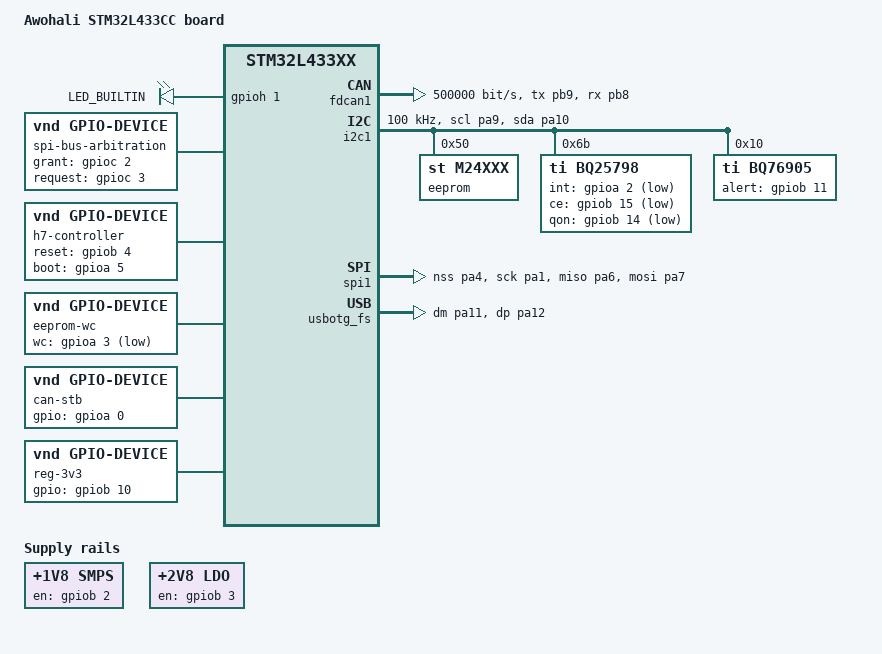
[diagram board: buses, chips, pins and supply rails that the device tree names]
/*
 * Copyright (c) 2026 Madison Gleydura <deepspace00@pm.me>
 *
 * SPDX-License-Identifier: Apache-2.0
 */

/dts-v1/;
#include <st/l4/stm32l433Xc.dtsi>
// #include "awohali_stm32l433cc.dtsi"

/ {
	model = "Awohali STM32L433CC board";
	compatible = "st,stm32l433xx";

	chosen {
		zephyr,console = &cdc_acm_uart0;
		zephyr,shell-uart = &cdc_acm_uart0;
		zephyr,dtcm = &dtcm;
		zephyr,sram = &sram1;
		zephyr,flash = &flash1;
	};

	aliases {
		led0 = &red_led;
		can0 = &fdcan1;
	};

	leds {
		compatible = "gpio-leds";
		status = "okay";
		led0: led_0 {
			gpios = <&gpioh 1 GPIO_ACTIVE_HIGH>;
			label = "LED_BUILTIN";
		};
	};

	spi-bus-arbitration {
		compatible = "vnd,gpio-device";
		grant-gpios = <&gpioc 2 GPIO_ACTIVE_HIGH>;
		request-gpios = <&gpioc 3 GPIO_ACTIVE_HIGH>;
		status = "okay";
	};

	h7-controller {
		compatible = "vnd,gpio-device";
		reset-gpios = <&gpiob 4 GPIO_ACTIVE_HIGH>;
		boot-gpios = <&gpioa 5 GPIO_ACTIVE_HIGH>;
		status = "okay";
	};

	eeprom-wc {
		compatible = "vnd,gpio-device";
		wc-gpios = <&gpioa 3 (GPIO_PULL_UP | GPIO_ACTIVE_LOW)>;
		status = "okay";
	};

	can-stb {
		compatible = "vnd,gpio-device";
		gpios = <&gpioa 0 GPIO_ACTIVE_HIGH>;
		status = "okay";
	};

	reg-1v8 {
		compatible = "regulator-gpio";
		regulator-name = "+1V8 SMPS";
		enable-gpios = <&gpiob 2 GPIO_ACTIVE_HIGH>;
		gpios = <&gpiob 1 GPIO_ACTIVE_HIGH>;
		status = "okay";
	};

	reg-2v8 {
		compatible = "regulator-gpio";
		regulator-name = "+2V8 LDO";
		enable-gpios = <&gpiob 3 GPIO_ACTIVE_HIGH>;
		gpios = <&gpioa 15 GPIO_ACTIVE_HIGH>;
		status = "okay";
	};

	reg-3v3 {
		compatible = "vnd,gpio-device";
		gpios = <&gpiob 10 GPIO_ACTIVE_HIGH>;
		status = "okay";
	}
};

&fdcan1 {
	pinctrl-0 = <&fdcan1_tx_pb9 &fdcan1_rx_pb8>;
	pinctrl-names = "default";
	clocks = <&rcc STM32_CLOCK(APB1_2, 8)>,
		<&rcc STM32_SRC_HSE FDCAN_SEL(1)>;
	bus-speed = <500000>;
	sample-point = <875>;
	status = "okay";

	can-transceiver {
		max-bitrate = <5000000>;
	};
};

&i2c1 {
	pinctrl-0 = <&i2c1_scl_pa9 &i2c1_sda_pa10>;
	pinctrl-names = "default";
	clock-frequency = <100000>;
	status = "okay";

	eeprom@50 {
		compatible = "st,m24xxx", "atmel,at24";
		reg = <0x50>;
		size = <DT_SIZE_K(64)>;
		pagesize = <128>;
		address-width = <16>;
		timeout = <5>;
		status = "okay";
	};

	bq25798@6b {
		compatible = "ti,bq25798";
		reg = <0x6B>;
		cell-count = <2>;
		constant-charge-current-max-microamp = <1000000>;
		constant-charge-voltage-max-microvolt = <7300000>;
		int-gpios = <&gpioa 2 GPIO_ACTIVE_LOW>;
		ce-gpios = <&gpiob 15 GPIO_ACTIVE_LOW>;
		qon-gpios = <&gpiob 14 GPIO_ACTIVE_LOW>;
		status = "okay";
	};

	bq76905@10 {
		compatible = "ti,bq76905";
		reg = <0x10>;
		cell-count = <2>;
		alert_gpios = <&gpiob 11 GPIO_ACTIVE_HIGH>;
		status = "okay";
	};
};

&spi1 {
	pinctrl-0 = <&spi1_nss_pa4 &spi1_sck_pa1 &spi1_miso_pa6 &spi1_mosi_pa7>;
	pinctrl-names = "default";
	status = "okay";
};

&usbotg_fs {
	pinctrl-0 = <&usbotg_fs_dm_pa11 &usbotg_fs_dp_pa12>;
	pinctrl-names = "default";
	status = "okay";

	cdc_acm_uart0: cdc_acm_uart0 {
		compatible = "zephyr,cdc-acm-usart";
	};
};

&rcc {
	clock-frequency = <DT_FREQ_M(64)>;
};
